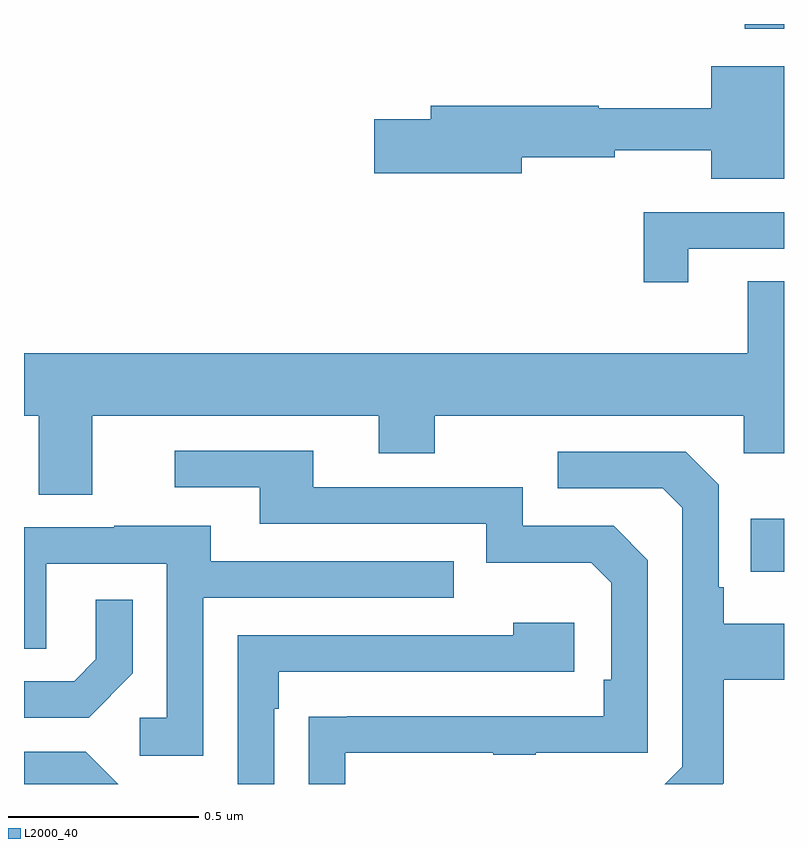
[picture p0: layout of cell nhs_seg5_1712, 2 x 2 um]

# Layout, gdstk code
import gdstk
lib = gdstk.Library(unit=1e-6, precision=1e-09)
def R(c, l, rs):  # rectangles x0, y0, x1, y1
    for r in rs: c.add(gdstk.rectangle(r[:2], r[2:], *l))
def P(c, l, *ps):  # polygons
    for p in ps: c.add(gdstk.Polygon(p, *l))
L2000_40 = (2000, 40)

nhs_seg5_1712 = lib.new_cell('nhs_seg5_1712')
R(nhs_seg5_1712, L2000_40, [(135.913,848.357,136,848.497), (135.897,849.786,136,849.799)])
P(nhs_seg5_1712, L2000_40, [(136,849.688),(135.809,849.688),(135.809,849.577),(135.513,849.577),(135.513,849.584),(135.071,849.584),(135.071,849.548),(134.922,849.548),(134.922,849.406),(135.31,849.406),(135.31,849.448),(135.554,849.448),(135.554,849.467),(135.809,849.467),(135.809,849.392),(136,849.392)],
  [(135.748,849.207),(136,849.207),(136,849.303),(135.631,849.303),(135.631,849.12),(135.748,849.12)],
  [(134.179,848.768),(134.933,848.768),(134.933,848.669),(135.081,848.669),(135.081,848.768),(135.894,848.768),(135.894,848.669),(136,848.669),(136,849.122),(135.905,849.122),(135.905,848.932),(134,848.932),(134,848.768),(134.039,848.768),(134.039,848.56),(134.179,848.56)],
  [(134.845,847.881),(135.235,847.881),(135.235,847.876),(135.347,847.876),(135.347,847.881),(135.642,847.881),(135.642,848.388),(135.552,848.478),(135.312,848.478),(135.312,848.58),(134.761,848.58),(134.761,848.676),(134.397,848.676),(134.397,848.58),(134.621,848.58),(134.621,848.484),(135.216,848.484),(135.216,848.381),(135.493,848.381),(135.546,848.328),(135.546,848.074),(135.526,848.074),(135.526,847.977),(134.851,847.977),(134.851,847.976),(134.749,847.976),(134.749,847.799),(134.845,847.799)],
  [(135.841,847.801),(135.841,848.074),(136,848.074),(136,848.221),(135.841,848.221),(135.841,848.317),(135.828,848.317),(135.828,848.586),(135.741,848.673),(135.405,848.673),(135.405,848.577),(135.681,848.577),(135.732,848.526),(135.732,847.845),(135.686,847.799),(135.839,847.799)],
  [(134.472,848.289),(135.131,848.289),(135.131,848.385),(134.491,848.385),(134.491,848.479),(134.237,848.479),(134.237,848.475),(134,848.475),(134,848.155),(134.058,848.155),(134.058,848.379),(134.376,848.379),(134.376,847.974),(134.304,847.974),(134.304,847.873),(134.472,847.873)],
  [(134.286,848.09),(134.286,848.284),(134.189,848.284),(134.189,848.127),(134.132,848.07),(134,848.07),(134,847.974),(134.17,847.974)],
  [(134.658,847.997),(134.671,847.997),(134.671,848.094),(135.448,848.094),(135.448,848.224),(135.287,848.224),(135.287,848.19),(134.562,848.19),(134.562,847.799),(134.658,847.799)],
  [(134.163,847.884),(134,847.884),(134,847.799),(134.248,847.799)])

lib.write_gds('nhs_seg5_1712.gds')
